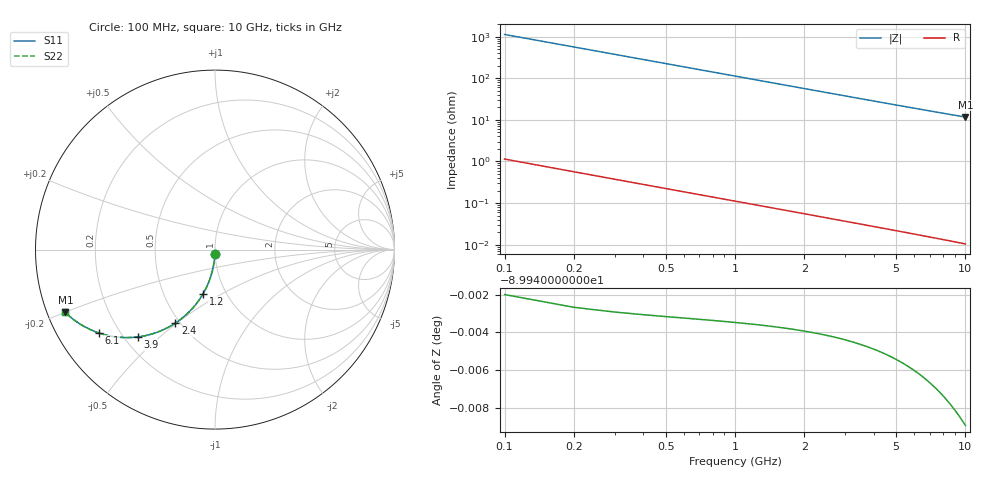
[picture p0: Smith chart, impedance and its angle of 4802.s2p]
# Hz S RI R 50.00
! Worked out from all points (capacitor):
!   100 points, 100 MHz to 10 GHz, reference 50 ohm
!   read as one part in shunt: C = 1.41 pF near 100 MHz
!   lowest |Z| = 11.7 ohm at 10 GHz (marker M1)
!   S11 on the Smith chart (normalised r, x): 100 MHz: 1.00, -0.04; 1.2 GHz: 0.78, -0.41; 2.4 GHz: 0.47, -0.49; 3.9 GHz: 0.25, -0.43; 6.1 GHz: 0.12, -0.32; 10 GHz: 0.05, -0.20
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1e8  -0.000473 -0.0219  0.9994 -0.0224  0.9994 -0.0224  -0.000473 -0.0219
2e8  -0.00196 -0.0438  0.998 -0.0446  0.998 -0.0446  -0.00196 -0.0438
3e8  -0.00443 -0.0656  0.9955 -0.0668  0.9955 -0.0668  -0.00443 -0.0656
4e8  -0.00784 -0.0871  0.9921 -0.0888  0.9921 -0.0888  -0.00784 -0.0871
5e8  -0.0122 -0.1084  0.9877 -0.1105  0.9877 -0.1105  -0.0122 -0.1084
6e8  -0.0175 -0.1294  0.9825 -0.1319  0.9825 -0.1319  -0.0175 -0.1294
7e8  -0.0236 -0.15  0.9763 -0.1529  0.9763 -0.1529  -0.0236 -0.15
9e8  -0.0384 -0.1899  0.9615 -0.1936  0.9615 -0.1936  -0.0384 -0.1899
1.2e9  -0.0662 -0.2458  0.9337 -0.2507  0.9337 -0.2507  -0.0662 -0.2458
1.5e9  -0.0997 -0.2961  0.9002 -0.3023  0.9002 -0.3023  -0.0997 -0.2961
1.8e9  -0.1375 -0.3403  0.8623 -0.3477  0.8623 -0.3477  -0.1375 -0.3403
2.1e9  -0.1783 -0.378  0.8215 -0.3867  0.8215 -0.3867  -0.1783 -0.378
2.4e9  -0.2209 -0.4094  0.779 -0.4193  0.779 -0.4193  -0.2209 -0.4094
2.9e9  -0.2928 -0.4486  0.7071 -0.4606  0.7071 -0.4606  -0.2928 -0.4486
3.4e9  -0.3627 -0.4732  0.6371 -0.4874  0.6371 -0.4874  -0.3627 -0.4732
3.9e9  -0.4283 -0.4862  0.5715 -0.5025  0.5715 -0.5025  -0.4283 -0.4862
5.1e9  -0.5621 -0.4849  0.4376 -0.5063  0.4376 -0.5063  -0.5621 -0.4849
6.1e9  -0.6479 -0.4642  0.3517 -0.49  0.3517 -0.49  -0.6479 -0.4642
6.7e9  -0.6897 -0.4478  0.3098 -0.4762  0.3098 -0.4762  -0.6897 -0.4478
7.5e9  -0.7362 -0.424  0.2632 -0.456  0.2632 -0.456  -0.7362 -0.424
8.4e9  -0.7783 -0.3966  0.2209 -0.4327  0.2209 -0.4327  -0.7783 -0.3966
1e10  -0.8334 -0.3498  0.1655 -0.3933  0.1655 -0.3933  -0.8334 -0.3498
